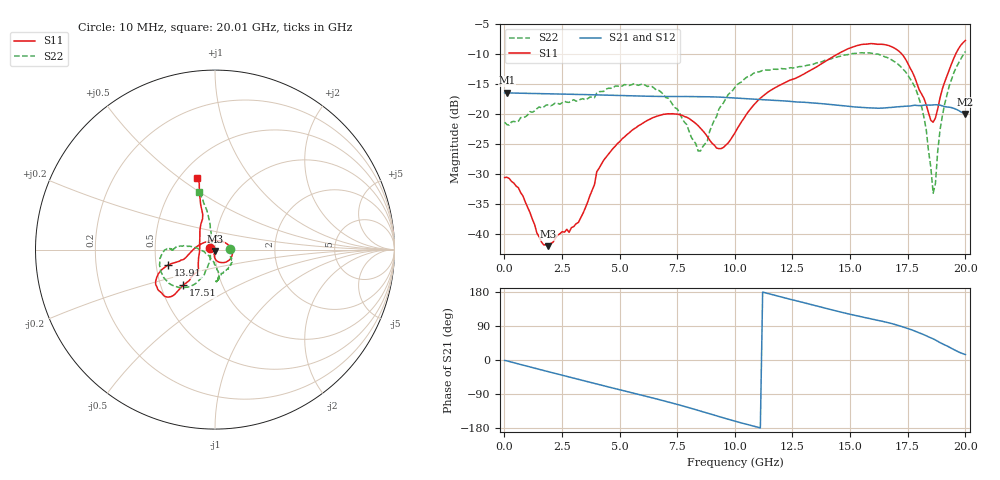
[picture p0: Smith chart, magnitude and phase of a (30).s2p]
! Hittite Microwave Corporation
! 2 Elizabeth Drive
! Chelmsford, MA 01824
! http://www.hittite.com
! Tel: 978-250-3343
! Fax: 978-250-3373
! Device:  HMC424LP3
! Description: 0.5 dB GaAs MMIC 6-Bit Digital Attenuator
! Frequency:  DC -  13.00 GHz
! Package:  LP3  - 3x3 mm Quad Flatpack No-Lead (QFN) Plastic Package: 16 pin
! Ports:  2 RF, 7 DC
!  Pad  1  = Ground
!  Pad  2  = RF IN  = Port 1
!  Pad  3  = Ground
!  Pad  4  = V6
!  Pad  5  = V5
!  Pad  6  = V4
!  Pad  7  = V3
!  Pad  8  = V2
!  Pad  9  = V1
!  Pad 10  = Ground
!  Pad 11  = RF OUT  = Port 2
!  Pad 12  = Ground
!  Pad 15  = VEE
! Control:  -5 Volt control voltage
! State:  28
! Attenuation:  14.0 dB
! Voltages:  Vdd = -5.00 Volts  Idd =  -2.555 mA
!  V1  = 0.00 Volts  I1  =  30.0 uA
!  V2  = 0.00 Volts  I2  =  29.0 uA
!  V3  = -5.00 Volts  I3  =  -1.0 uA
!  V4  = -5.00 Volts  I4  =  -1.0 uA
!  V5  = -5.00 Volts  I5  =  -1.0 uA
!  V6  = 0.00 Volts  I6  =  30.0 uA
! Data:  The device was measured on evaluation board 105354-1.
!  Data was collected using a calibrated network analyzer.
!  The evaluation circuit board was modeled and simulated.  This was use
!  to removed the evaluation board circuit from the measured data.
!  The reference plane is the edge of the package pin.
! Misc:  Lot xxxx, Unit 1
!  Application 20120001, Data collected in Application 20090083
! Date Measured:  2009-09-15
! Date:  2012-05-14  MJV
! Note:
!  Hittite supplies this data as a sample of measured data at the package pin
!  for this product.  Your particular data for this product may vary.
!  Data was taken at 25 degrees C.
!  Hittite reserves the right to change this data at anytime.
# GHz S MA R 50
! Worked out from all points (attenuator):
!   201 points, 10 MHz to 20.01 GHz, reference 50 ohm
!   highest |S21| = -16.43 dB at 110 MHz (marker M1); lowest = -20.0 dB at 20.01 GHz (marker M2)
!   lowest |S11| = -42.1 dB at 1.91 GHz (marker M3), VSWR 1.02, Z = 50.3 - j0.744 ohm
!   |S11| at or under -10 dB: start of sweep to 14.45 GHz; 17.26 GHz to 19.58 GHz (2.325 GHz wide, 12.6 % of centre)
!   |S22| runs from -33.2 to -9.5 dB; largest |S21 - S12| = 0.0029
!   S11 on the Smith chart (normalised r, x): 10 MHz: 0.95, +0.02; 13.91 GHz: 0.58, -0.11; 17.51 GHz: 0.65, -0.28; 20.01 GHz: 0.61, +0.59
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0.01  0.02946 162.5  0.1502 -1.1  0.1528 -1.7  0.08544 2.7
0.11  0.02962 179.6  0.1508 -2.3  0.1505 -2.2  0.08173 -1.6
0.61  0.0242 -172.2  0.1496 -10.4  0.1495 -10.4  0.08725 -18.0
1.61  0.008524 -105.9  0.1481 -26.2  0.148 -26.2  0.1127 -33.0
1.91  0.007861 -70.3  0.1478 -30.9  0.1477 -30.8  0.1198 -37.4
3.41  0.01475 -86.2  0.1458 -54.1  0.1456 -54.1  0.1346 -63.4
4.31  0.04115 -93.9  0.1443 -67.8  0.1442 -67.9  0.1549 -80.7
6.71  0.09706 -39.0  0.1406 -104.4  0.1404 -104.4  0.1576 -83.7
8.51  0.07626 22.4  0.1399 -134.6  0.1396 -134.6  0.04913 -138.7
9.31  0.05143 80.9  0.1388 -149.2  0.1385 -149.2  0.11 173.8
10.01  0.06982 144.5  0.1363 -161.4  0.1361 -161.4  0.1676 172.4
11.11  0.1359 -174.0  0.1323 -179.2  0.1321 -179.2  0.227 178.6
13.41  0.2391 -162.2  0.1238 144.7  0.1236 144.7  0.261 178.6
13.91  0.2741 -161.7  0.1216 136.9  0.1213 136.9  0.2818 -179.4
16.71  0.3729 -134.7  0.1132 97.7  0.1131 97.8  0.2915 -133.6
17.51  0.2659 -131.8  0.1165 83.1  0.1163 83.0  0.2118 -119.0
18.21  0.1355 -133.2  0.1187 66.8  0.1185 66.8  0.094 -113.8
18.61  0.08551 173.6  0.1193 55.8  0.1191 55.8  0.02175 -172.7
18.71  0.09285 157.4  0.1197 52.9  0.1194 52.9  0.02635 138.0
18.91  0.137 127.9  0.1187 45.9  0.1184 45.9  0.07385 107.4
19.11  0.1852 111.9  0.1155 39.9  0.1153 39.9  0.1215 102.2
20.01  0.4128 103.9  0.1005 14.4  0.1003 14.3  0.3338 105.8
